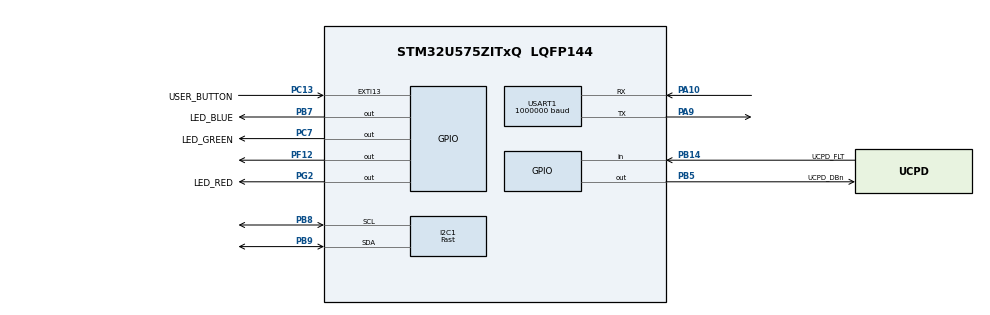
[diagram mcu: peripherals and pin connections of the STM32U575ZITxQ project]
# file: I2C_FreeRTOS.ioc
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CORTEX_M33_NS.userName=CORTEX_M33
GPDMA1.DESTINC_GPDMACH0=DMA_DINC_INCREMENTED
GPDMA1.IPHANDLE_GPDMACH0-SIMPLEREQUEST_GPDMACH0=__NULL
GPDMA1.REQUEST_GPDMACH0=GPDMA1_REQUEST_USART1_RX
I2C1.I2C_Speed_Mode=I2C_Fast
I2C1.Timing=0x00F07BFF
Mcu.Family=STM32U5
Mcu.Name=STM32U575ZITxQ
Mcu.Package=LQFP144
NVIC.GPDMA1_Channel0_IRQn=true\:0\:0\:false\:false\:true\:false\:true\:true
NVIC.PriorityGroup=NVIC_PRIORITYGROUP_4
NVIC.TIM6_IRQn=true\:0\:0\:true\:false\:true\:false\:true\:true
NVIC.TimeBase=TIM6_IRQn
NVIC.TimeBaseIP=TIM6
NVIC.USART1_IRQn=true\:0\:0\:false\:false\:true\:true\:true\:true
PA10.GPIO_PuPd=GPIO_PULLDOWN
PA10.GPIO_Speed=GPIO_SPEED_FREQ_VERY_HIGH
PA10.Mode=Asynchronous
PA10.Signal=USART1_RX
PA11.Signal=USB_OTG_FS_DM
PA12.Signal=USB_OTG_FS_DP
PA13\ (JTMS/SWDIO).Signal=DEBUG_JTMS-SWDIO
PA14\ (JTCK/SWCLK).Signal=DEBUG_JTCK-SWCLK
PA15\ (JTDI).Signal=UCPD1_CC1
PA9.GPIO_PuPd=GPIO_PULLDOWN
PA9.GPIO_Speed=GPIO_SPEED_FREQ_VERY_HIGH
PA9.Mode=Asynchronous
PA9.Signal=USART1_TX
PB14.GPIO_Label=UCPD_FLT
PB14.Signal=GPIO_Input
PB15.Signal=UCPD1_CC2
PB3\ (JTDO/TRACESWO).Signal=DEBUG_JTDO-SWO
PB5.GPIO_Label=UCPD_DBn
PB5.Signal=GPIO_Output
PB7.GPIO_Label=LED_BLUE
PB7.Signal=GPIO_Output
PB8.GPIO_Pu=GPIO_PULLUP
PB8.Mode=I2C
PB8.Signal=I2C1_SCL
PB9.GPIO_Pu=GPIO_PULLUP
PB9.Mode=I2C
PB9.Signal=I2C1_SDA
PC13.GPIO_Label=USER_BUTTON
PC13.Signal=GPXTI13
PC14-OSC32_IN\ (PC14).Mode=LSE-External-Oscillator
PC14-OSC32_IN\ (PC14).Signal=RCC_OSC32_IN
PC15-OSC32_OUT\ (PC15).Mode=LSE-External-Oscillator
PC15-OSC32_OUT\ (PC15).Signal=RCC_OSC32_OUT
PC2.GPIO_Label=VBUS_SENSE
PC2.Signal=ADC1_IN3
PC7.GPIO_Label=LED_GREEN
PC7.Signal=GPIO_Output
PF12.GPIO_Speed=GPIO_SPEED_FREQ_HIGH
PF12.Signal=GPIO_Output
PG2.GPIO_Label=LED_RED
PG2.Signal=GPIO_Output
PWR.PowerMode=PWR_SMPS_SUPPLY
ProjectManager.HeapSize=0x200
ProjectManager.StackSize=0x400
ProjectManager.TargetToolchain=STM32CubeIDE
RCC.ADCFreq_Value=16000000
RCC.AHBFreq_Value=160000000
RCC.APB1Freq_Value=160000000
RCC.APB1TimFreq_Value=160000000
RCC.APB2Freq_Value=160000000
RCC.APB2TimFreq_Value=160000000
RCC.APB3Freq_Value=160000000
RCC.CortexFreq_Value=160000000
RCC.DACCLockSelectionVirtual=RCC_DAC1CLKSOURCE_LSI
RCC.EPOD_VALUE=4000000
RCC.HCLKFreq_Value=160000000
RCC.HSE_VALUE=16000000
RCC.HSI48_VALUE=48000000
RCC.HSI_VALUE=16000000
RCC.LSIDIV_VALUE=32000
RCC.MSI_VALUE=4000000
RCC.PLL2FRACN=0
RCC.PLL3FRACN=0
RCC.PLLFRACN=0
RCC.PLLN=80
RCC.SYSCLKFreq_VALUE=160000000
RCC.SYSCLKSource=RCC_SYSCLKSOURCE_PLLCLK
RCC.USBFreq_Value=48000000
RCC.VCOOutputFreq_Value=320000000
USART1.BaudRate=1000000
USART1.VirtualMode-Asynchronous=VM_ASYNC
VP_GPDMA1_VS_GPDMACH0.Mode=SIMPLEREQUEST_GPDMACH0
VP_ICACHE_VS_ENABLE_ICACHE_MEMORY.Mode=Memoryregions
VP_ICACHE_VS_ICACHE.Mode=DirectMappedCache
VP_LPBAMQUEUE_VS_QUEUE.Mode=QUEUEMODE
VP_LPBAM_VS_SIG1.Mode=SmartRun
VP_LPBAM_VS_SIG4.Mode=LPDMA1
VP_MEMORYMAP_VS_MEMORYMAP.Mode=CurAppReg
VP_PWR_VS_DBSignals.Mode=DisableDeadBatterySignals
VP_PWR_VS_LPOM.Mode=PowerOptimisation
VP_PWR_VS_SECSignals.Mode=Security/Privilege
VP_SYS_VS_tim6.Mode=TIM6
board=NUCLEO-U575ZI-Q

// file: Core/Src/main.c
/* USER CODE BEGIN Header */
/**
 ******************************************************************************
 * @file           : main.c
 * @brief          : Main program body
 ******************************************************************************
 * @attention
 *
 * Copyright (c) 2023 STMicroelectronics.
 * All rights reserved.
 *
 * This software is licensed under terms that can be found in the LICENSE file
 * in the root directory of this software component.
 * If no LICENSE file comes with this software, it is provided AS-IS.
 *
 ******************************************************************************
 */
/* USER CODE END Header */
#include "main.h"

/* USER CODE BEGIN Includes */
#include <string.h>
#include <stdlib.h>
#include <stdio.h>
#include <stdbool.h>
#include "lsm6dso_reg.h"
#include "lsm6dso_imu.h"
#include "complementary_filter.h"
#include "FreeRTOS.h"
#include "semphr.h"
#include "FreeRTOSConfig.h"
#ifdef __GNUC__
#define PUTCHAR_PROTOTYPE int __io_putchar(int ch)
#else
#define PUTCHAR_PROTOTYPE int fputc(int ch, FILE *f)
#endif
/* USER CODE END Includes */

/* USER CODE BEGIN PD */
#define NUCLEO_U575Z
#define SENSOR_BUS hi2c1
//#define DEBUG_PRINT_XL
//#define DEBUG_PRINT_GY
/* USER CODE END PD */

/* USER CODE BEGIN PM */
#define    LSM6DSO_BOOT_TIME      10
/* USER CODE END PM */

I2C_HandleTypeDef hi2c1;
UART_HandleTypeDef huart1;
DMA_HandleTypeDef handle_GPDMA1_Channel0;

/* USER CODE BEGIN PV */
typedef union {
  int16_t i16bit[3];
  uint8_t u8bit[6];
} axis3bit16_t;

SemaphoreHandle_t i2cMutex;
static axis3bit16_t data_raw_acceleration;
static axis3bit16_t data_raw_angular_rate;
static TaskHandle_t xImuReadAndComputeH = NULL, xGetInclinationH = NULL;

static uint8_t whoamI, rst;
static uint8_t tx_buffer[1000];
struct imu_data *imu_data;
struct cf_data *sf_cf_data;

rc_filter lpf_xl_coeff[3];
rc_filter lpf_gy_coeff[3];

stmdev_ctx_t dev_ctx;

/* USER CODE END PV */

void SystemClock_Config (void);
static void SystemPower_Config (void);
static void MX_GPIO_Init (void);
static void MX_GPDMA1_Init (void);
static void MX_ICACHE_Init (void);
static void MX_USART1_UART_Init (void);
static void MX_I2C1_Init (void);

/* USER CODE BEGIN PFP */
static int32_t platform_write (void *handle, uint8_t reg, const uint8_t *bufp, uint16_t len);
static int32_t platform_read (void *handle, uint8_t reg, uint8_t *bufp, uint16_t len);
static void tx_com (uint8_t *tx_buffer, uint16_t len);
static void platform_delay (uint32_t ms);
static void v_imu_read_and_compute_task (void *pvParameters);
static void print_sf_cf_results (struct cf_data*);

/* USER CODE END PFP */

/* USER CODE BEGIN 0 */
#ifdef DEBUG_PRINT
uint8_t Buffer[25] = { 0 };
uint8_t Space[] = "";
uint8_t StartMSG[] = "Starting I2C Scanning:\r\n";
uint8_t EndMSG[] = "Done!\r\n\r\n";
#endif

static uint8_t whoamI, rst;
static uint8_t tx_buffer[1000];

/**
 * @brief Remap printf to USART
 * @param None
 * @retval pointer to character buffer
 */
PUTCHAR_PROTOTYPE {
  HAL_UART_Transmit(&huart1, (uint8_t*) &ch, 1, HAL_MAX_DELAY);
  return ch;
}

/**
 * @brief LSM6DSO Sensor Initialization Function
 * @param None
 * @retval None
 */
void lsm6dso_init () {

  do {
    /* Check device ID */
    lsm6dso_device_id_get(&dev_ctx, &whoamI);
    platform_delay(100);
  } while (whoamI != LSM6DSO_ID);

  /* Restore default configuration */
  lsm6dso_reset_set(&dev_ctx, PROPERTY_ENABLE);

  do {
    lsm6dso_reset_get(&dev_ctx, &rst);
  } while (rst);

  /* Disable I3C interface */
  lsm6dso_i3c_disable_set(&dev_ctx, LSM6DSO_I3C_DISABLE);
  /* Enable Block Data Update */
  lsm6dso_block_data_update_set(&dev_ctx, PROPERTY_ENABLE);
  /* Set full scale */
  lsm6dso_xl_full_scale_set(&dev_ctx, LSM6DSO_2g);
  lsm6dso_gy_full_scale_set(&dev_ctx, LSM6DSO_250dps);
  /* Set FIFO watermark (number of unread sensor data TAG + 6 bytes
   * stored in FIFO) to 10 samples
   */
  lsm6dso_fifo_watermark_set(&dev_ctx, 100);
  /* Set FIFO batch XL/Gyro ODR to 12.5Hz */
  lsm6dso_fifo_xl_batch_set(&dev_ctx, LSM6DSO_XL_BATCHED_AT_833Hz);
  lsm6dso_fifo_gy_batch_set(&dev_ctx, LSM6DSO_GY_BATCHED_AT_833Hz);
  /* Set FIFO mode to Stream mode (aka Continuous Mode) */
  lsm6dso_fifo_mode_set(&dev_ctx, LSM6DSO_STREAM_MODE);
  lsm6dso_xl_data_rate_set(&dev_ctx, LSM6DSO_XL_ODR_1667Hz);
  lsm6dso_gy_data_rate_set(&dev_ctx, LSM6DSO_GY_ODR_1667Hz);
}

/**
 * @brief Read IMU data from Fifo and compute pitch, roll angle estimates
 * @param Takes Task Parameters
 * @retval None
 */
void v_imu_read_and_compute_task (void *pvParameters) {
  imu_data = (struct imu_data*) malloc(sizeof(struct imu_data));
  sf_cf_data = (struct cf_data*) (malloc(sizeof(struct cf_data)));
  for (;;) {
    ulTaskNotifyTake(pdTRUE, portMAX_DELAY);
    if (xSemaphoreTake(i2cMutex, portMAX_DELAY) == pdTRUE) {

      uint16_t num = 0;
      uint16_t XLnum = 0;
      uint16_t GYnum = 0;
      bool xl_flag = false;
      bool gy_flag = false;
      uint8_t wm_flag = 0;
      lsm6dso_fifo_tag_t reg_tag;
      axis3bit16_t dummy;
      lsm6dso_fifo_wtm_flag_get(&dev_ctx, &wm_flag); /* Read fifo watermark flag */
      if (wm_flag > 0) {
        memset(sf_cf_data, 0x00, sizeof(sf_cf_data));
        lsm6dso_fifo_data_level_get(&dev_ctx, &num); /* Read number of samples in FIFO */
        XLnum = 0;
        GYnum = 0;
        while (num--) {
          /* Read FIFO tag */
          lsm6dso_fifo_sensor_tag_get(&dev_ctx, &reg_tag);

          switch (reg_tag) {
            case LSM6DSO_XL_NC_TAG:
              memset(data_raw_acceleration.u8bit, 0x00, 3 * sizeof(int16_t));
              lsm6dso_fifo_out_raw_get(&dev_ctx, data_raw_acceleration.u8bit);
              data_raw_acceleration.i16bit[0] = rc_filter_update(&lpf_xl_coeff[0], (float)data_raw_acceleration.i16bit[0]);
              data_raw_acceleration.i16bit[1] = rc_filter_update(&lpf_xl_coeff[1], (float)data_raw_acceleration.i16bit[1]);
              data_raw_acceleration.i16bit[2] = rc_filter_update(&lpf_xl_coeff[2], (float)data_raw_acceleration.i16bit[2]);
              imu_data->acc_x = (float_t) lsm6dso_from_fs2_to_mg(data_raw_acceleration.i16bit[0]) * G_MPS / 1000 - 0.01;
              imu_data->acc_y = (float_t) lsm6dso_from_fs2_to_mg(data_raw_acceleration.i16bit[1]) * G_MPS / 1000 + 0.01;
              imu_data->acc_z = (float_t) lsm6dso_from_fs2_to_mg(data_raw_acceleration.i16bit[2]) * G_MPS / 1000 + 0.02;
              imu_data->acc_rms = sqrt(imu_data->acc_x * imu_data->acc_x + imu_data->acc_y * imu_data->acc_y + imu_data->acc_z * imu_data->acc_z);
              xl_flag = true;
              XLnum++;
#ifdef DEBUG_PRINT_XL
            printf("XL:%4.2f\t%4.2f\t%4.2f\r\n",data_raw_acceleration.i16bit[0],data_raw_acceleration.i16bit[1],data_raw_acceleration.i16bit[2]);
#endif
              break;

            case LSM6DSO_GYRO_NC_TAG:
              memset(data_raw_angular_rate.u8bit, 0x00, 3 * sizeof(int16_t));
              lsm6dso_fifo_out_raw_get(&dev_ctx, data_raw_angular_rate.u8bit);
              data_raw_angular_rate.i16bit[0] = rc_filter_update(&lpf_gy_coeff[0], (float)data_raw_angular_rate.i16bit[0]);
              data_raw_angular_rate.i16bit[1] = rc_filter_update(&lpf_gy_coeff[1], (float)data_raw_angular_rate.i16bit[1]);
              data_raw_angular_rate.i16bit[2] = rc_filter_update(&lpf_gy_coeff[2], (float)data_raw_angular_rate.i16bit[2]);
              imu_data->gyr_x = (float_t) lsm6dso_from_fs250_to_mdps(data_raw_angular_rate.i16bit[0]) * DEG2RAD / 1000;
              imu_data->gyr_y = (float_t) lsm6dso_from_fs250_to_mdps(data_raw_angular_rate.i16bit[1]) * DEG2RAD / 1000;
              imu_data->gyr_z = (float_t) lsm6dso_from_fs250_to_mdps(data_raw_angular_rate.i16bit[2]) * DEG2RAD / 1000;
              gy_flag = true;
              GYnum++;
#ifdef DEBUG_PRINT_GY
            printf("GY:%4.2f\t%4.2f\t%4.2f\r\n",data_raw_angular_rate.i16bit[0],data_raw_angular_rate.i16bit[0],data_raw_angular_rate.i16bit[0]);
#endif
              break;

            default:
              /* Flush unused samples */
              printf("r");
              memset(dummy.u8bit, 0x00, 3 * sizeof(int16_t));
              lsm6dso_fifo_out_raw_get(&dev_ctx, dummy.u8bit);
              break;
          }
          if (xl_flag && gy_flag) {
            xl_flag = false;
            gy_flag = false;
            cf_filter_apply(imu_data, sf_cf_data);
          }
        }

#ifdef DEBUG_PRINT
      printf("XL: %d, GY: %d\r\n", XLnum, GYnum);
#endif
        print_sf_cf_results(sf_cf_data);
      }
      xSemaphoreGive(i2cMutex);
    }
  }
  vTaskDelete(NULL);
}

static void x_get_inclinometer_task (void *pvParameters) {
  TickType_t xLastWakeTime;
  xLastWakeTime = xTaskGetTickCount();
  const TickType_t xFrequency = pdMS_TO_TICKS(1010);
  for (;;) {
    /* Send a notification to imu task, bringing it out of the
     Blocked state. */
    xTaskNotifyGive(xImuReadAndComputeH);
    vTaskDelayUntil(&xLastWakeTime, xFrequency);
    HAL_GPIO_TogglePin(GPIOF, GPIO_PIN_12);
  }
  vTaskDelete(NULL);
}

/* USER CODE END 0 */

int main (void) {

  /* MCU Configuration--------------------------------------------------------*/

  /* Reset of all peripherals, Initializes the Flash interface and the Systick. */
  HAL_Init();

  /* Configure the system clock */
  SystemClock_Config();

  /* Configure the System Power */
  SystemPower_Config();

  /* Initialize all configured peripherals */
  MX_GPIO_Init();
  MX_GPDMA1_Init();
  MX_ICACHE_Init();
  MX_USART1_UART_Init();
  MX_I2C1_Init();
  /* USER CODE BEGIN 2 */

  /* Initialise low-pass filters */
  for (uint8_t n = 0; n < 3; n++) {

    rc_filter_init(&lpf_xl_coeff[n], 139.0f, 0.01f);

    rc_filter_init(&lpf_gy_coeff[n], 839.0f, 0.01f);

  }

  /* Initialize mems driver interface */
  dev_ctx.write_reg = platform_write;
  dev_ctx.read_reg = platform_read;
  dev_ctx.handle = &hi2c1;
  i2cMutex = xSemaphoreCreateMutex();
//  platform_delay(LSM6DSO_BOOT_TIME);
  lsm6dso_init();

  if (i2cMutex != NULL) {
    xTaskCreate(v_imu_read_and_compute_task, "Read IMU Data", configMINIMAL_STACK_SIZE, NULL, 1, &xImuReadAndComputeH);
  }

  xTaskCreate(x_get_inclinometer_task, "Periodically Get Inclination", configMINIMAL_STACK_SIZE, NULL, 1, &xGetInclinationH);
  vTaskStartScheduler();
  /* USER CODE END 2 */

  /* Infinite loop */
  while (1) {

  }
}

void SystemClock_Config (void) {
  RCC_OscInitTypeDef RCC_OscInitStruct = { 0 };
  RCC_ClkInitTypeDef RCC_ClkInitStruct = { 0 };

  /** Configure the main internal regulator output voltage
   */
  if (HAL_PWREx_ControlVoltageScaling(PWR_REGULATOR_VOLTAGE_SCALE1) != HAL_OK) {
    Error_Handler();
  }

  /** Initializes the CPU, AHB and APB buses clocks
   */
  RCC_OscInitStruct.OscillatorType = RCC_OSCILLATORTYPE_MSI;
  RCC_OscInitStruct.MSIState = RCC_MSI_ON;
  RCC_OscInitStruct.MSICalibrationValue = RCC_MSICALIBRATION_DEFAULT;
  RCC_OscInitStruct.MSIClockRange = RCC_MSIRANGE_4;
  RCC_OscInitStruct.PLL.PLLState = RCC_PLL_ON;
  RCC_OscInitStruct.PLL.PLLSource = RCC_PLLSOURCE_MSI;
  RCC_OscInitStruct.PLL.PLLMBOOST = RCC_PLLMBOOST_DIV1;
  RCC_OscInitStruct.PLL.PLLM = 1;
  RCC_OscInitStruct.PLL.PLLN = 80;
  RCC_OscInitStruct.PLL.PLLP = 2;
  RCC_OscInitStruct.PLL.PLLQ = 2;
  RCC_OscInitStruct.PLL.PLLR = 2;
  RCC_OscInitStruct.PLL.PLLRGE = RCC_PLLVCIRANGE_0;
  RCC_OscInitStruct.PLL.PLLFRACN = 0;
  if (HAL_RCC_OscConfig(&RCC_OscInitStruct) != HAL_OK) {
    Error_Handler();
  }

  /** Initializes the CPU, AHB and APB buses clocks
   */
  RCC_ClkInitStruct.ClockType = RCC_CLOCKTYPE_HCLK | RCC_CLOCKTYPE_SYSCLK | RCC_CLOCKTYPE_PCLK1 | RCC_CLOCKTYPE_PCLK2 | RCC_CLOCKTYPE_PCLK3;
  RCC_ClkInitStruct.SYSCLKSource = RCC_SYSCLKSOURCE_PLLCLK;
  RCC_ClkInitStruct.AHBCLKDivider = RCC_SYSCLK_DIV1;
  RCC_ClkInitStruct.APB1CLKDivider = RCC_HCLK_DIV1;
  RCC_ClkInitStruct.APB2CLKDivider = RCC_HCLK_DIV1;
  RCC_ClkInitStruct.APB3CLKDivider = RCC_HCLK_DIV1;

  if (HAL_RCC_ClockConfig(&RCC_ClkInitStruct, FLASH_LATENCY_4) != HAL_OK) {
    Error_Handler();
  }
}

/**
 * @brief Power Configuration
 * @retval None
 */
static void SystemPower_Config (void) {
  HAL_PWREx_EnableVddIO2();

  /*
   * Disable the internal Pull-Up in Dead Battery pins of UCPD peripheral
   */
  HAL_PWREx_DisableUCPDDeadBattery();

  /*
   * Switch to SMPS regulator instead of LDO
   */
  if (HAL_PWREx_ConfigSupply(PWR_SMPS_SUPPLY) != HAL_OK) {
    Error_Handler();
  }
}

static void MX_GPDMA1_Init (void) {

  /* Peripheral clock enable */
  __HAL_RCC_GPDMA1_CLK_ENABLE();

  /* GPDMA1 interrupt Init */
  HAL_NVIC_SetPriority(GPDMA1_Channel0_IRQn, 0, 0);
  HAL_NVIC_EnableIRQ(GPDMA1_Channel0_IRQn);

}

static void MX_I2C1_Init (void) {

  hi2c1.Instance = I2C1;
  hi2c1.Init.Timing = 0x00F07BFF;
  hi2c1.Init.OwnAddress1 = 0;
  hi2c1.Init.AddressingMode = I2C_ADDRESSINGMODE_7BIT;
  hi2c1.Init.DualAddressMode = I2C_DUALADDRESS_DISABLE;
  hi2c1.Init.OwnAddress2 = 0;
  hi2c1.Init.OwnAddress2Masks = I2C_OA2_NOMASK;
  hi2c1.Init.GeneralCallMode = I2C_GENERALCALL_DISABLE;
  hi2c1.Init.NoStretchMode = I2C_NOSTRETCH_DISABLE;
  if (HAL_I2C_Init(&hi2c1) != HAL_OK) {
    Error_Handler();
  }

  /** Configure Analogue filter
   */
  if (HAL_I2CEx_ConfigAnalogFilter(&hi2c1, I2C_ANALOGFILTER_ENABLE) != HAL_OK) {
    Error_Handler();
  }

  /** Configure Digital filter
   */
  if (HAL_I2CEx_ConfigDigitalFilter(&hi2c1, 0) != HAL_OK) {
    Error_Handler();
  }

}

static void MX_ICACHE_Init (void) {

  ICACHE_RegionConfigTypeDef pRegionConfig = { 0 };

  /** Configure and enable a region for memory remapping.
   */
  if (HAL_ICACHE_Disable() != HAL_OK) {
    Error_Handler();
  }
  pRegionConfig.BaseAddress = 0x10000000;
  pRegionConfig.RemapAddress = 0x60000000;
  pRegionConfig.Size = ICACHE_REGIONSIZE_2MB;
  pRegionConfig.TrafficRoute = ICACHE_MASTER1_PORT;
  pRegionConfig.OutputBurstType = ICACHE_OUTPUT_BURST_WRAP;
  if (HAL_ICACHE_EnableRemapRegion(_NULL, &pRegionConfig) != HAL_OK) {
    Error_Handler();
  }

  /** Enable instruction cache in 1-way (direct mapped cache)
   */
  if (HAL_ICACHE_ConfigAssociativityMode(ICACHE_1WAY) != HAL_OK) {
    Error_Handler();
  }
  if (HAL_ICACHE_Enable() != HAL_OK) {
    Error_Handler();
  }

}

static void MX_USART1_UART_Init (void) {

  huart1.Instance = USART1;
  huart1.Init.BaudRate = 1000000;
  huart1.Init.WordLength = UART_WORDLENGTH_8B;
  huart1.Init.StopBits = UART_STOPBITS_1;
  huart1.Init.Parity = UART_PARITY_NONE;
  huart1.Init.Mode = UART_MODE_TX_RX;
  huart1.Init.HwFlowCtl = UART_HWCONTROL_NONE;
  huart1.Init.OverSampling = UART_OVERSAMPLING_16;
  huart1.Init.OneBitSampling = UART_ONE_BIT_SAMPLE_DISABLE;
  huart1.Init.ClockPrescaler = UART_PRESCALER_DIV1;
  huart1.AdvancedInit.AdvFeatureInit = UART_ADVFEATURE_NO_INIT;
  if (HAL_UART_Init(&huart1) != HAL_OK) {
    Error_Handler();
  }
  if (HAL_UARTEx_SetTxFifoThreshold(&huart1, UART_TXFIFO_THRESHOLD_1_8) != HAL_OK) {
    Error_Handler();
  }
  if (HAL_UARTEx_SetRxFifoThreshold(&huart1, UART_RXFIFO_THRESHOLD_1_8) != HAL_OK) {
    Error_Handler();
  }
  if (HAL_UARTEx_DisableFifoMode(&huart1) != HAL_OK) {
    Error_Handler();
  }

}

static void MX_GPIO_Init (void) {
  GPIO_InitTypeDef GPIO_InitStruct = { 0 };

  /* GPIO Ports Clock Enable */
  __HAL_RCC_GPIOC_CLK_ENABLE();
  __HAL_RCC_GPIOF_CLK_ENABLE();
  __HAL_RCC_GPIOB_CLK_ENABLE();
  __HAL_RCC_GPIOG_CLK_ENABLE();
  __HAL_RCC_GPIOA_CLK_ENABLE();

  /*Configure GPIO pin Output Level */
  HAL_GPIO_WritePin(GPIOF, GPIO_PIN_12, GPIO_PIN_RESET);

  /*Configure GPIO pin Output Level */
  HAL_GPIO_WritePin(LED_RED_GPIO_Port, LED_RED_Pin, GPIO_PIN_RESET);

  /*Configure GPIO pin Output Level */
  HAL_GPIO_WritePin(LED_GREEN_GPIO_Port, LED_GREEN_Pin, GPIO_PIN_RESET);

  /*Configure GPIO pin Output Level */
  HAL_GPIO_WritePin(GPIOB, UCPD_DBn_Pin | LED_BLUE_Pin, GPIO_PIN_RESET);

  /*Configure GPIO pin : USER_BUTTON_Pin */
  GPIO_InitStruct.Pin = USER_BUTTON_Pin;
  GPIO_InitStruct.Mode = GPIO_MODE_IT_RISING;
  GPIO_InitStruct.Pull = GPIO_NOPULL;
  HAL_GPIO_Init(USER_BUTTON_GPIO_Port, &GPIO_InitStruct);

  /*Configure GPIO pin : VBUS_SENSE_Pin */
  GPIO_InitStruct.Pin = VBUS_SENSE_Pin;
  GPIO_InitStruct.Mode = GPIO_MODE_ANALOG;
  GPIO_InitStruct.Pull = GPIO_NOPULL;
  HAL_GPIO_Init(VBUS_SENSE_GPIO_Port, &GPIO_InitStruct);

  /*Configure GPIO pin : PF12 */
  GPIO_InitStruct.Pin = GPIO_PIN_12;
  GPIO_InitStruct.Mode = GPIO_MODE_OUTPUT_PP;
  GPIO_InitStruct.Pull = GPIO_NOPULL;
  GPIO_InitStruct.Speed = GPIO_SPEED_FREQ_HIGH;
  HAL_GPIO_Init(GPIOF, &GPIO_InitStruct);

  /*Configure GPIO pin : UCPD_FLT_Pin */
  GPIO_InitStruct.Pin = UCPD_FLT_Pin;
  GPIO_InitStruct.Mode = GPIO_MODE_INPUT;
  GPIO_InitStruct.Pull = GPIO_NOPULL;
  HAL_GPIO_Init(UCPD_FLT_GPIO_Port, &GPIO_InitStruct);

  /*Configure GPIO pin : PB15 */
  GPIO_InitStruct.Pin = GPIO_PIN_15;
  GPIO_InitStruct.Mode = GPIO_MODE_ANALOG;
  GPIO_InitStruct.Pull = GPIO_NOPULL;
  HAL_GPIO_Init(GPIOB, &GPIO_InitStruct);

  /*Configure GPIO pin : LED_RED_Pin */
  GPIO_InitStruct.Pin = LED_RED_Pin;
  GPIO_InitStruct.Mode = GPIO_MODE_OUTPUT_PP;
  GPIO_InitStruct.Pull = GPIO_NOPULL;
  GPIO_InitStruct.Speed = GPIO_SPEED_FREQ_LOW;
  HAL_GPIO_Init(LED_RED_GPIO_Port, &GPIO_InitStruct);

  /*Configure GPIO pin : LED_GREEN_Pin */
  GPIO_InitStruct.Pin = LED_GREEN_Pin;
  GPIO_InitStruct.Mode = GPIO_MODE_OUTPUT_PP;
  GPIO_InitStruct.Pull = GPIO_NOPULL;
  GPIO_InitStruct.Speed = GPIO_SPEED_FREQ_LOW;
  HAL_GPIO_Init(LED_GREEN_GPIO_Port, &GPIO_InitStruct);

  /*Configure GPIO pins : PA11 PA12 */
  GPIO_InitStruct.Pin = GPIO_PIN_11 | GPIO_PIN_12;
  GPIO_InitStruct.Mode = GPIO_MODE_AF_PP;
  GPIO_InitStruct.Pull = GPIO_NOPULL;
  GPIO_InitStruct.Speed = GPIO_SPEED_FREQ_LOW;
  GPIO_InitStruct.Alternate = GPIO_AF10_USB;
  HAL_GPIO_Init(GPIOA, &GPIO_InitStruct);

  /*Configure GPIO pin : PA15 */
  GPIO_InitStruct.Pin = GPIO_PIN_15;
  GPIO_InitStruct.Mode = GPIO_MODE_ANALOG;
  GPIO_InitStruct.Pull = GPIO_NOPULL;
  HAL_GPIO_Init(GPIOA, &GPIO_InitStruct);

  /*Configure GPIO pins : UCPD_DBn_Pin LED_BLUE_Pin */
  GPIO_InitStruct.Pin = UCPD_DBn_Pin | LED_BLUE_Pin;
  GPIO_InitStruct.Mode = GPIO_MODE_OUTPUT_PP;
  GPIO_InitStruct.Pull = GPIO_NOPULL;
  GPIO_InitStruct.Speed = GPIO_SPEED_FREQ_LOW;
  HAL_GPIO_Init(GPIOB, &GPIO_InitStruct);

}

/* USER CODE BEGIN 4 */

void print_sf_cf_results (struct cf_data *result) {
  sprintf((char*) tx_buffer, "%.3f\t%.3f\r\n", result->phiHat_deg, result->theta_hat_rad);
//  sprintf((char*) tx_buffer, "%4.2f\t%4.2f\t%4.2f\t%4.2f\t%4.2f\t%4.2f\t%4.2f\t%4.2f\t%4.2f\r\n",result->phiHat_acc,result->thetaHat_acc,result->p_rps,result->q_rps,result->r_rps,result->phiDot*RAD2DEG,result->thetaDot*RAD2DEG,result->phiHat_rad*RAD2DEG,result->thetaHat_rad*RAD2DEG);
  tx_com(tx_buffer, strlen((const char*) tx_buffer));
}

/*
 * @brief  Write generic device register (platform dependent)
 *
 * @param  handle    customizable argument. In this examples is used in
 *                   order to select the correct sensor bus handler.
 * @param  reg       register to write
 * @param  bufp      pointer to data to write in register reg
 * @param  len       number of consecutive register to write
 *
 */
static int32_t platform_write (void *handle, uint8_t reg, const uint8_t *bufp, uint16_t len) {
  HAL_I2C_Mem_Write(handle, LSM6DSO_I2C_ADD_H, reg, I2C_MEMADD_SIZE_8BIT, (uint8_t*) bufp, len, 1000);

  return 0;
}

/*
 * @brief  Read generic device register (platform dependent)
 *
 * @param  handle    customizable argument. In this examples is used in
 *                   order to select the correct sensor bus handler.
 * @param  reg       register to read
 * @param  bufp      pointer to buffer that store the data read
 * @param  len       number of consecutive register to read
 *
 */
static int32_t platform_read (void *handle, uint8_t reg, uint8_t *bufp, uint16_t len) {
  HAL_I2C_Mem_Read(handle, LSM6DSO_I2C_ADD_H, reg, I2C_MEMADD_SIZE_8BIT, bufp, len, 1000);
  return 0;
}

/*
 * @brief  Send buffer to console (platform dependent)
 *
 * @param  tx_buffer     buffer to transmit
 * @param  len           number of byte to send
 *
 */
static void tx_com (uint8_t *tx_buffer, uint16_t len) {
  HAL_UART_Transmit(&huart1, tx_buffer, len, 1000);
}

/*
 * @brief  platform specific delay (platform dependent)
 *
 * @param  ms        delay in ms
 *
 */
static void platform_delay (uint32_t ms) {
  HAL_Delay(ms);
}
/* USER CODE END 4 */

void HAL_TIM_PeriodElapsedCallback (TIM_HandleTypeDef *htim) {
  if (htim->Instance == TIM6) {
    HAL_IncTick();
  }
}

void Error_Handler (void) {
  __disable_irq();
  while (1) {
  }
}
